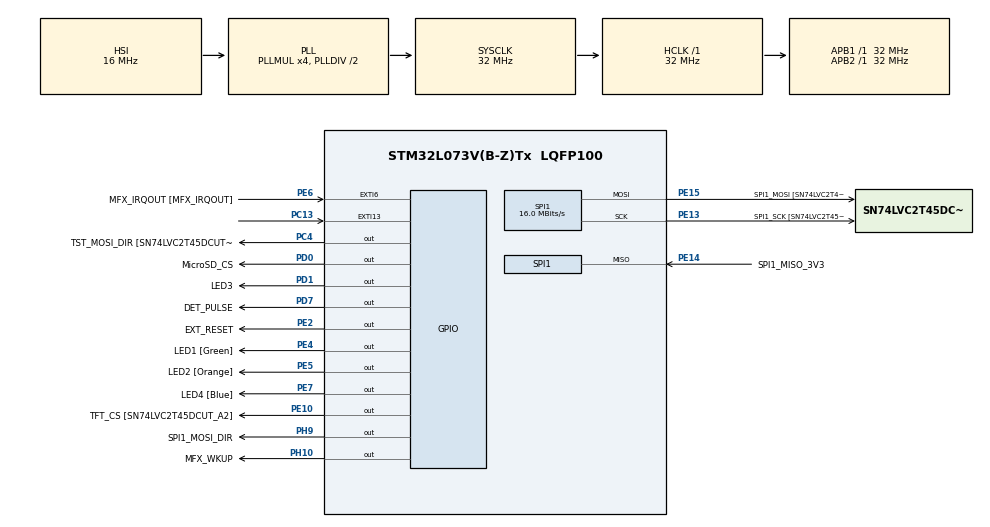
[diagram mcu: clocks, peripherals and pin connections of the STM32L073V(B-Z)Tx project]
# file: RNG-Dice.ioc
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Mcu.Family=STM32L0
Mcu.Name=STM32L073V(B-Z)Tx
Mcu.Package=LQFP100
NVIC.AES_RNG_LPUART1_IRQn=true\:0\:0\:false\:false\:true\:true
NVIC.EXTI4_15_IRQn=true\:0\:0\:false\:false\:true\:true
PA0.GPIO_Label=PRESSURE [TSZ122IST_1]
PA0.Signal=ADC_IN0
PA11.GPIO_Label=USB_DM
PA11.Signal=USB_DM
PA12.GPIO_Label=USB_DP
PA12.Signal=USB_DP
PA13.GPIO_Label=SWDIO
PA13.Signal=SYS_SWDIO
PA14.GPIO_Label=SWCLK
PA14.Signal=SYS_SWCLK
PA4.GPIO_Label=DAC OUT1
PA4.Signal=COMP_DAC1_group
PA5.GPIO_Label=ADC_IN5
PA5.Signal=ADC_IN5
PA7.GPIO_Label=DET_COMP2_OUT [TP18]
PA7.Signal=COMP2_OUT
PB3.GPIO_Label=DET_COMP2_INM
PB3.Signal=COMP2_INM
PB4.GPIO_Label=DET_COMP2_INP
PB4.Signal=COMP2_INP
PB5.GPIO_Label=TempSensor_INT [STLM75M2F_OS/INT]
PB5.Signal=I2C1_SMBA
PB6.GPIO_Label=I2C1_SCL [STLM75M2F_SCL]
PB6.Signal=I2C1_SCL
PB7.GPIO_Label=I2C1_SDA [STLM75M2F_SDA]
PB7.Signal=I2C1_SDA
PC0.GPIO_Label=DET_LPTIM_CH1 [TS862AIPT_9]
PC0.Signal=LPTIM1_IN1
PC13.Signal=GPXTI13
PC14-OSC32_IN.Signal=RCC_OSC32_IN
PC15-OSC32_OUT.Signal=RCC_OSC32_OUT
PC4.GPIO_Label=TST_MOSI_DIR [SN74LVC2T45DCUT_DIR]
PC4.Signal=GPIO_Output
PD0.GPIO_Label=MicroSD_CS
PD0.Signal=GPIO_Output
PD1.GPIO_Label=LED3
PD1.GPIO_ModeDefaultOutputPP=GPIO_MODE_OUTPUT_OD
PD1.Signal=GPIO_Output
PD11.GPIO_Label=LPUART_CTS_3V3 [ST3241EBPR_R4OUT]
PD11.Signal=LPUART1_CTS
PD12.GPIO_Label=LPUART_RTS [SN74LVC2T45DCUT_A2]
PD12.Signal=LPUART1_RTS
PD3.GPIO_Label=USART2_CTS_3V3 [ST3241EBPR_R4OUT]
PD3.Signal=USART2_CTS
PD4.GPIO_Label=USART2_RTS [N74LVC2T45DCUT_A2]
PD4.Signal=USART2_RTS
PD5.GPIO_Label=USART2_TX [N74LVC2T45DCUT_A1]
PD5.Signal=USART2_TX
PD6.GPIO_Label=USART2_RX_3V3 [ST3241EBPR_R3OUT]
PD6.Signal=USART2_RX
PD7.GPIO_Label=DET_PULSE
PD7.GPIO_ModeDefaultOutputPP=GPIO_MODE_OUTPUT_OD
PD7.Signal=GPIO_Output
PD8.GPIO_Label=LPUART_TX [SN74LVC2T45DCUT_A1]
PD8.Signal=LPUART1_TX
PD9.GPIO_Label=LPUART_RX_3V3 [ST3241EBPR_R3OUT]
PD9.Signal=LPUART1_RX
PE10.GPIO_Label=TFT_CS [SN74LVC2T45DCUT_A2]
PE10.Signal=GPIO_Output
PE13.GPIO_Label=SPI1_SCK [SN74LVC2T45DCUT_A1]
PE13.Mode=Full_Duplex_Master
PE13.Signal=SPI1_SCK
PE14.GPIO_Label=SPI1_MISO_3V3
PE14.Mode=Full_Duplex_Master
PE14.Signal=SPI1_MISO
PE15.GPIO_Label=SPI1_MOSI [SN74LVC2T45DCUT_A1]
PE15.Mode=Full_Duplex_Master
PE15.Signal=SPI1_MOSI
PE2.GPIO_Label=EXT_RESET
PE2.Signal=GPIO_Output
PE4.GPIO_Label=LED1 [Green]
PE4.GPIO_ModeDefaultOutputPP=GPIO_MODE_OUTPUT_OD
PE4.Signal=GPIO_Output
PE5.GPIO_Label=LED2 [Orange]
PE5.GPIO_ModeDefaultOutputPP=GPIO_MODE_OUTPUT_OD
PE5.Signal=GPIO_Output
PE6.GPIO_Label=MFX_IRQOUT [MFX_IRQOUT]
PE6.Signal=GPXTI6
PE7.GPIO_Label=LED4 [Blue]
PE7.GPIO_ModeDefaultOutputPP=GPIO_MODE_OUTPUT_OD
PE7.Signal=GPIO_Output
PE8.GPIO_Label=USART4_TX [SN74LVC2T45DCUT_A1]
PE8.Signal=USART4_TX
PE9.GPIO_Label=USART4_RX_3V3
PE9.Signal=USART4_RX
PH10.GPIO_Label=MFX_WKUP
PH10.Signal=GPIO_Output
PH9.GPIO_Label=SPI1_MOSI_DIR
PH9.Signal=GPIO_Output
ProjectManager.HeapSize=0x200
ProjectManager.StackSize=0x400
ProjectManager.TargetToolchain=SW4STM32
RCC.AHBFreq_Value=32000000
RCC.APB1Freq_Value=32000000
RCC.APB1TimFreq_Value=32000000
RCC.APB2Freq_Value=32000000
RCC.APB2TimFreq_Value=32000000
RCC.HCLKFreq_Value=32000000
RCC.HSE_VALUE=8000000
RCC.HSI16_VALUE=16000000
RCC.HSI48_VALUE=48000000
RCC.HSI_VALUE=16000000
RCC.LSE_VALUE=32768
RCC.MSI_VALUE=2097000
RCC.PLLMUL=RCC_PLLMUL_4
RCC.SYSCLKFreq_VALUE=32000000
RCC.SYSCLKSource=RCC_SYSCLKSOURCE_PLLCLK
RCC.VCOOutputFreq_Value=64000000
SH.COMP_DAC1_group.0=DAC_OUT1
SPI1.CalculateBaudRate=16.0 MBits/s
SPI1.Direction=SPI_DIRECTION_2LINES
SPI1.Mode=SPI_MODE_MASTER
SPI1.VirtualType=VM_MASTER
VP_RNG_VS_RNG.Mode=RNG_Activate
board=STM32L073Z-EVAL

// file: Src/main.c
/**
  ******************************************************************************
  * File Name          : main.c
  * Description        : Main program body
  ******************************************************************************
  ** This notice applies to any and all portions of this file
  * that are not between comment pairs USER CODE BEGIN and
  * USER CODE END. Other portions of this file, whether
  * inserted by the user or by software development tools
  * are owned by their respective copyright owners.
  *
  * COPYRIGHT(c) 2017 STMicroelectronics
  *
  * Redistribution and use in source and binary forms, with or without modification,
  * are permitted provided that the following conditions are met:
  *   1. Redistributions of source code must retain the above copyright notice,
  *      this list of conditions and the following disclaimer.
  *   2. Redistributions in binary form must reproduce the above copyright notice,
  *      this list of conditions and the following disclaimer in the documentation
  *      and/or other materials provided with the distribution.
  *   3. Neither the name of STMicroelectronics nor the names of its contributors
  *      may be used to endorse or promote products derived from this software
  *      without specific prior written permission.
  *
  * THIS SOFTWARE IS PROVIDED BY THE COPYRIGHT HOLDERS AND CONTRIBUTORS "AS IS"
  * AND ANY EXPRESS OR IMPLIED WARRANTIES, INCLUDING, BUT NOT LIMITED TO, THE
  * IMPLIED WARRANTIES OF MERCHANTABILITY AND FITNESS FOR A PARTICULAR PURPOSE ARE
  * DISCLAIMED. IN NO EVENT SHALL THE COPYRIGHT HOLDER OR CONTRIBUTORS BE LIABLE
  * FOR ANY DIRECT, INDIRECT, INCIDENTAL, SPECIAL, EXEMPLARY, OR CONSEQUENTIAL
  * DAMAGES (INCLUDING, BUT NOT LIMITED TO, PROCUREMENT OF SUBSTITUTE GOODS OR
  * SERVICES; LOSS OF USE, DATA, OR PROFITS; OR BUSINESS INTERRUPTION) HOWEVER
  * CAUSED AND ON ANY THEORY OF LIABILITY, WHETHER IN CONTRACT, STRICT LIABILITY,
  * OR TORT (INCLUDING NEGLIGENCE OR OTHERWISE) ARISING IN ANY WAY OUT OF THE USE
  * OF THIS SOFTWARE, EVEN IF ADVISED OF THE POSSIBILITY OF SUCH DAMAGE.
  *
  ******************************************************************************
  */

#include "main.h"
#include "stm32l0xx_hal.h"
#include "rng.h"
#include "spi.h"
#include "gpio.h"

/* USER CODE BEGIN Includes */
#include "stm32l073z_eval_lcd.h"
#include "stdbool.h"
/* USER CODE END Includes */

/* USER CODE BEGIN PV */
/* Private variables ---------------------------------------------------------*/

/* USER CODE END PV */

void SystemClock_Config(void);

/* USER CODE BEGIN PFP */
/* Private function prototypes -----------------------------------------------*/

/* USER CODE END PFP */

/* USER CODE BEGIN 0 */

void MyLCD_FillRoundedSquare(uint16_t x, uint16_t y, uint16_t w, uint16_t h, uint16_t r) {
    // Draw + shape to form the square body
    BSP_LCD_FillRect(x + r, y + 0, w-r-r, h); // (r, 0) to (w-r, h)
    BSP_LCD_FillRect(x + 0, y + r, w+1, h-r-r); // (0, r) to (w, h-r)
    // +1 to fix bug of showing one pixel less
    // no idea why that happens

    // Plot circles at 4 corners
    BSP_LCD_FillCircle(x + r, y + r, r);         // (r, r)
    BSP_LCD_FillCircle(x + (w-r), y + r, r);     // (w-r, r)
    BSP_LCD_FillCircle(x + r, y + (h-r), r);     // (r, h-r)
    BSP_LCD_FillCircle(x + (w-r), y + (h-r), r); // (w-r, h-r)
}

void MyLCD_DisplayDice(int number) {
    const uint16_t lcd_x_mid = BSP_LCD_GetXSize() / 2;
    const uint16_t lcd_y_mid = BSP_LCD_GetYSize() * 0.6;

    const uint16_t body_size = 125;
    const uint16_t body_radius = 20;

    const uint16_t dots_size = 65;
    const uint16_t dots_radius = 12;

    BSP_LCD_SetTextColor(LCD_COLOR_WHITE);
    MyLCD_FillRoundedSquare(
            lcd_x_mid - body_size / 2,
            lcd_y_mid - body_size / 2,
            body_size, body_size,
            body_radius);

    BSP_LCD_SetTextColor(LCD_COLOR_BLACK);
    const bool dot_mid = number & 0x1; // odd number
    const bool dot_br = number > 3;
    const bool dot_bl = number > 1;
    const bool dot_tr = number > 1;
    const bool dot_tl = number > 3;
    const bool dot_mr = number == 6;
    const bool dot_ml = number == 6;

    // middle
    if (dot_mid)
        BSP_LCD_FillCircle(lcd_x_mid, lcd_y_mid, dots_radius);
    // bottom-right
    if (dot_br)
        BSP_LCD_FillCircle(lcd_x_mid + dots_size / 2, lcd_y_mid + dots_size / 2, dots_radius);
    // bottom-left
    if (dot_bl)
        BSP_LCD_FillCircle(lcd_x_mid - dots_size / 2, lcd_y_mid + dots_size / 2, dots_radius);
    // top-right
    if (dot_tr)
        BSP_LCD_FillCircle(lcd_x_mid + dots_size / 2, lcd_y_mid - dots_size / 2, dots_radius);
    // top-left
    if (dot_tl)
        BSP_LCD_FillCircle(lcd_x_mid - dots_size / 2, lcd_y_mid - dots_size / 2, dots_radius);
    // mid-right
    if (dot_mr)
        BSP_LCD_FillCircle(lcd_x_mid + dots_size / 2, lcd_y_mid, dots_radius);
    // mid-left
    if (dot_ml)
        BSP_LCD_FillCircle(lcd_x_mid - dots_size / 2, lcd_y_mid, dots_radius);
}

bool PC13_Pressed = false;

void HAL_GPIO_EXTI_Callback(uint16_t GPIO_Pin) {
    if (GPIO_Pin == GPIO_PIN_13) {
        PC13_Pressed = true;
    }
}

void HAL_RNG_ReadyDataCallback(RNG_HandleTypeDef* hrng, uint32_t random32bit) {
    MyLCD_DisplayDice(random32bit % 6 + 1);

    BSP_LCD_SetTextColor(LCD_COLOR_WHITE);
    BSP_LCD_SetFont(&Font20);
    BSP_LCD_DisplayStringAt(0, LINE(2), "Random Dice", CENTER_MODE);
}

/* USER CODE END 0 */

int main(void)
{

  /* MCU Configuration----------------------------------------------------------*/

  /* Reset of all peripherals, Initializes the Flash interface and the Systick. */
  HAL_Init();

  /* Configure the system clock */
  SystemClock_Config();

  /* Initialize all configured peripherals */
  MX_GPIO_Init();
  MX_RNG_Init();
  MX_SPI1_Init();

  /* USER CODE BEGIN 2 */
  BSP_LED_Init(LED1);
  BSP_LED_Init(LED2);
  BSP_LED_Init(LED3);
  BSP_LED_Init(LED4);

  BSP_LCD_Init();
  BSP_LCD_Clear(LCD_COLOR_BLACK);
  BSP_LCD_SetBackColor(LCD_COLOR_BLACK);
  BSP_LCD_SetTextColor(LCD_COLOR_WHITE);

  HAL_RNG_GenerateRandomNumber_IT(&hrng);
  /* USER CODE END 2 */

  /* Infinite loop */
  /* USER CODE BEGIN WHILE */
  while (1) {
      if (PC13_Pressed) {
          PC13_Pressed = false;
          HAL_RNG_GenerateRandomNumber_IT(&hrng);
      }
      HAL_Delay(500);
  }
  /* USER CODE END WHILE */

}

/** System Clock Configuration
*/
void SystemClock_Config(void)
{

  RCC_OscInitTypeDef RCC_OscInitStruct;
  RCC_ClkInitTypeDef RCC_ClkInitStruct;
  RCC_PeriphCLKInitTypeDef PeriphClkInit;

    /**Configure the main internal regulator output voltage
    */
  __HAL_PWR_VOLTAGESCALING_CONFIG(PWR_REGULATOR_VOLTAGE_SCALE1);

    /**Initializes the CPU, AHB and APB busses clocks
    */
  RCC_OscInitStruct.OscillatorType = RCC_OSCILLATORTYPE_HSI;
  RCC_OscInitStruct.HSIState = RCC_HSI_ON;
  RCC_OscInitStruct.HSICalibrationValue = 16;
  RCC_OscInitStruct.PLL.PLLState = RCC_PLL_ON;
  RCC_OscInitStruct.PLL.PLLSource = RCC_PLLSOURCE_HSI;
  RCC_OscInitStruct.PLL.PLLMUL = RCC_PLLMUL_4;
  RCC_OscInitStruct.PLL.PLLDIV = RCC_PLLDIV_2;
  if (HAL_RCC_OscConfig(&RCC_OscInitStruct) != HAL_OK)
  {
    _Error_Handler(__FILE__, __LINE__);
  }

    /**Initializes the CPU, AHB and APB busses clocks
    */
  RCC_ClkInitStruct.ClockType = RCC_CLOCKTYPE_HCLK|RCC_CLOCKTYPE_SYSCLK
                              |RCC_CLOCKTYPE_PCLK1|RCC_CLOCKTYPE_PCLK2;
  RCC_ClkInitStruct.SYSCLKSource = RCC_SYSCLKSOURCE_PLLCLK;
  RCC_ClkInitStruct.AHBCLKDivider = RCC_SYSCLK_DIV1;
  RCC_ClkInitStruct.APB1CLKDivider = RCC_HCLK_DIV1;
  RCC_ClkInitStruct.APB2CLKDivider = RCC_HCLK_DIV1;

  if (HAL_RCC_ClockConfig(&RCC_ClkInitStruct, FLASH_LATENCY_1) != HAL_OK)
  {
    _Error_Handler(__FILE__, __LINE__);
  }

  PeriphClkInit.PeriphClockSelection = RCC_PERIPHCLK_USB;
  PeriphClkInit.UsbClockSelection = RCC_USBCLKSOURCE_PLL;
  if (HAL_RCCEx_PeriphCLKConfig(&PeriphClkInit) != HAL_OK)
  {
    _Error_Handler(__FILE__, __LINE__);
  }

    /**Configure the Systick interrupt time
    */
  HAL_SYSTICK_Config(HAL_RCC_GetHCLKFreq()/1000);

    /**Configure the Systick
    */
  HAL_SYSTICK_CLKSourceConfig(SYSTICK_CLKSOURCE_HCLK);

  /* SysTick_IRQn interrupt configuration */
  HAL_NVIC_SetPriority(SysTick_IRQn, 0, 0);
}

void _Error_Handler(char * file, int line)
{
  while(1)
  {
  }
}

/************************ (C) COPYRIGHT STMicroelectronics *****END OF FILE****/
